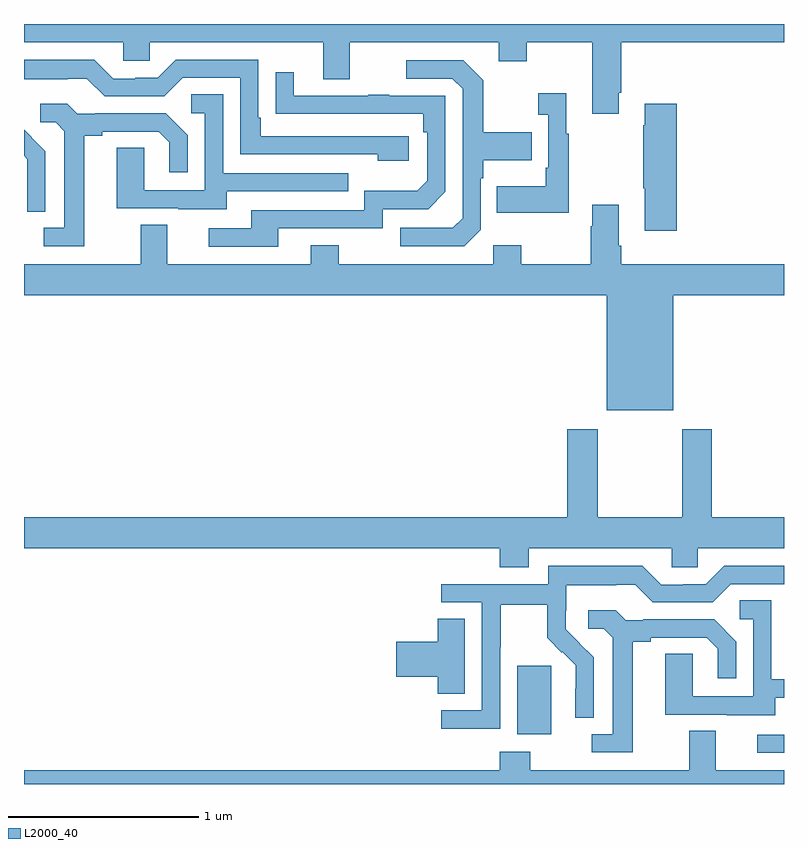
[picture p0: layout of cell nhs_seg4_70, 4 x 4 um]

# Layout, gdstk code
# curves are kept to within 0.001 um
import gdstk
lib = gdstk.Library(unit=1e-6, precision=1e-09)
def R(c, l, rs):  # rectangles x0, y0, x1, y1
    for r in rs: c.add(gdstk.rectangle(r[:2], r[2:], *l))
def P(c, l, *ps):  # polygons
    for p in ps: c.add(gdstk.Polygon(p, *l))
L2000_40 = (2000, 40)

nhs_seg4_70 = lib.new_cell('nhs_seg4_70')
R(nhs_seg4_70, L2000_40, [(116.859,809.064,117,809.16), (115.595,809.162,115.774,809.523)])
P(nhs_seg4_70, L2000_40, [(116.131,812.539),(116.144,812.539),(116.144,812.804),(117,812.804),(117,812.9),(113,812.9),(113,812.804),(113.523,812.804),(113.523,812.706),(113.661,812.706),(113.661,812.804),(114.575,812.804),(114.575,812.61),(114.715,812.61),(114.715,812.804),(115.499,812.804),(115.499,812.705),(115.647,812.705),(115.647,812.804),(115.991,812.804),(115.991,812.427),(116.131,812.427)],
  [(115.024,812.31),(114.247,812.31),(114.247,812.407),(114.234,812.407),(114.234,812.712),(113.799,812.712),(113.703,812.616),(113.585,812.616),(113.585,812.613),(113.469,812.613),(113.369,812.713),(113,812.713),(113,812.609),(113.231,812.609),(113.231,812.613),(113.331,812.613),(113.424,812.52),(113.739,812.52),(113.835,812.616),(114.138,812.616),(114.138,812.214),(114.863,812.214),(114.863,812.18),(115.024,812.18)],
  [(115.404,811.818),(115.404,812.087),(115.417,812.087),(115.417,812.183),(115.673,812.183),(115.673,812.331),(115.417,812.331),(115.417,812.603),(115.311,812.709),(115.011,812.709),(115.011,812.613),(115.254,812.613),(115.308,812.559),(115.308,811.878),(115.257,811.827),(114.981,811.827),(114.981,811.731),(115.317,811.731)],
  [(114.337,811.824),(114.888,811.824),(114.888,811.926),(115.128,811.926),(115.218,812.016),(115.218,812.523),(114.923,812.523),(114.923,812.528),(114.811,812.528),(114.811,812.523),(114.421,812.523),(114.421,812.647),(114.325,812.647),(114.325,812.428),(115.102,812.427),(115.102,812.33),(115.122,812.33),(115.122,812.076),(115.069,812.023),(114.792,812.023),(114.792,811.92),(114.197,811.92),(114.197,811.824),(113.973,811.824),(113.973,811.728),(114.337,811.728)],
  [(115.867,812.323),(115.855,812.323),(115.855,812.536),(115.707,812.536),(115.707,812.423),(115.758,812.423),(115.758,812.143),(115.746,812.143),(115.746,812.047),(115.489,812.047),(115.489,811.907),(115.867,811.907)],
  [(114.067,812.019),(114.707,812.019),(114.707,812.115),(114.048,812.115),(114.048,812.531),(113.88,812.531),(113.88,812.43),(113.952,812.43),(113.952,812.025),(113.634,812.025),(113.634,812.249),(113.489,812.249),(113.489,811.929),(113.813,811.929),(113.813,811.925),(114.067,811.925)],
  [(113.317,812.312),(113.413,812.312),(113.413,812.334),(113.708,812.334),(113.765,812.277),(113.765,812.121),(113.862,812.121),(113.862,812.314),(113.746,812.43),(113.374,812.43),(113.374,812.427),(113.28,812.427),(113.228,812.479),(113.085,812.479),(113.085,812.382),(113.166,812.382),(113.213,812.335),(113.213,811.827),(113.103,811.827),(113.103,811.731),(113.317,811.731)],
  [(116.435,812.479),(116.267,812.479),(116.267,812.366),(116.26,812.366),(116.26,812.035),(116.267,812.035),(116.267,811.812),(116.435,811.812)],
  [(113.112,812.23),(113.039,812.303),(113.04,812.304),(113,812.344),(113,812.207),(113.018,812.189),(113.018,812.066),(113.016,812.066),(113.016,811.912),(113.112,811.912)],
  [(116.416,811.472),(117,811.472),(117,811.636),(116.144,811.636),(116.144,811.732),(116.131,811.732),(116.131,811.948),(115.991,811.948),(115.991,811.835),(115.984,811.835),(115.984,811.636),(115.617,811.636),(115.617,811.735),(115.47,811.735),(115.47,811.636),(114.657,811.636),(114.657,811.735),(114.509,811.735),(114.509,811.636),(113.755,811.636),(113.755,811.844),(113.615,811.844),(113.615,811.636),(113,811.636),(113,811.472),(116.066,811.472),(116.066,810.866),(116.416,810.866)],
  [(115.657,810.14),(116.409,810.14),(116.409,810.042),(116.547,810.042),(116.547,810.14),(117,810.14),(117,810.304),(116.619,810.304),(116.619,810.766),(116.464,810.766),(116.464,810.304),(116.019,810.304),(116.019,810.766),(115.859,810.766),(115.859,810.304),(113,810.304),(113,810.14),(115.505,810.14),(115.505,810.041),(115.657,810.041)],
  [(115.506,809.62),(115.509,809.62),(115.509,809.844),(115.753,809.844),(115.753,809.669),(115.83,809.592),(115.833,809.595),(115.904,809.525),(115.904,809.402),(115.902,809.402),(115.902,809.248),(115.998,809.248),(115.998,809.566),(115.852,809.714),(115.852,809.811),(115.854,809.811),(115.854,809.945),(116.117,809.945),(116.117,809.949),(116.217,809.949),(116.31,809.856),(116.625,809.856),(116.721,809.952),(117,809.952),(117,810.048),(116.685,810.048),(116.589,809.952),(116.471,809.952),(116.471,809.949),(116.355,809.949),(116.255,810.049),(115.758,810.049),(115.758,809.952),(115.197,809.952),(115.197,809.856),(115.41,809.856),(115.41,809.289),(115.197,809.289),(115.197,809.191),(115.506,809.191)],
  [(116.953,809.355),(117,809.355),(117,809.451),(116.934,809.451),(116.934,809.867),(116.766,809.867),(116.766,809.766),(116.838,809.766),(116.838,809.361),(116.52,809.361),(116.52,809.585),(116.375,809.585),(116.375,809.265),(116.699,809.265),(116.699,809.261),(116.953,809.261)],
  [(116.203,809.648),(116.299,809.648),(116.299,809.67),(116.594,809.67),(116.651,809.613),(116.651,809.457),(116.748,809.457),(116.748,809.65),(116.632,809.766),(116.26,809.766),(116.26,809.763),(116.166,809.763),(116.114,809.815),(115.971,809.815),(115.971,809.718),(116.052,809.718),(116.099,809.671),(116.099,809.163),(115.989,809.163),(115.989,809.067),(116.203,809.067)],
  [(115.321,809.771),(115.178,809.771),(115.178,809.648),(114.96,809.648),(114.96,809.465),(115.178,809.465),(115.178,809.374),(115.321,809.374)],
  [(117,808.972),(116.641,808.972),(116.641,809.18),(116.501,809.18),(116.501,808.972),(115.665,808.972),(115.665,809.071),(115.505,809.071),(115.505,808.972),(113,808.972),(113,808.9),(117,808.9)])

lib.write_gds('nhs_seg4_70.gds')
